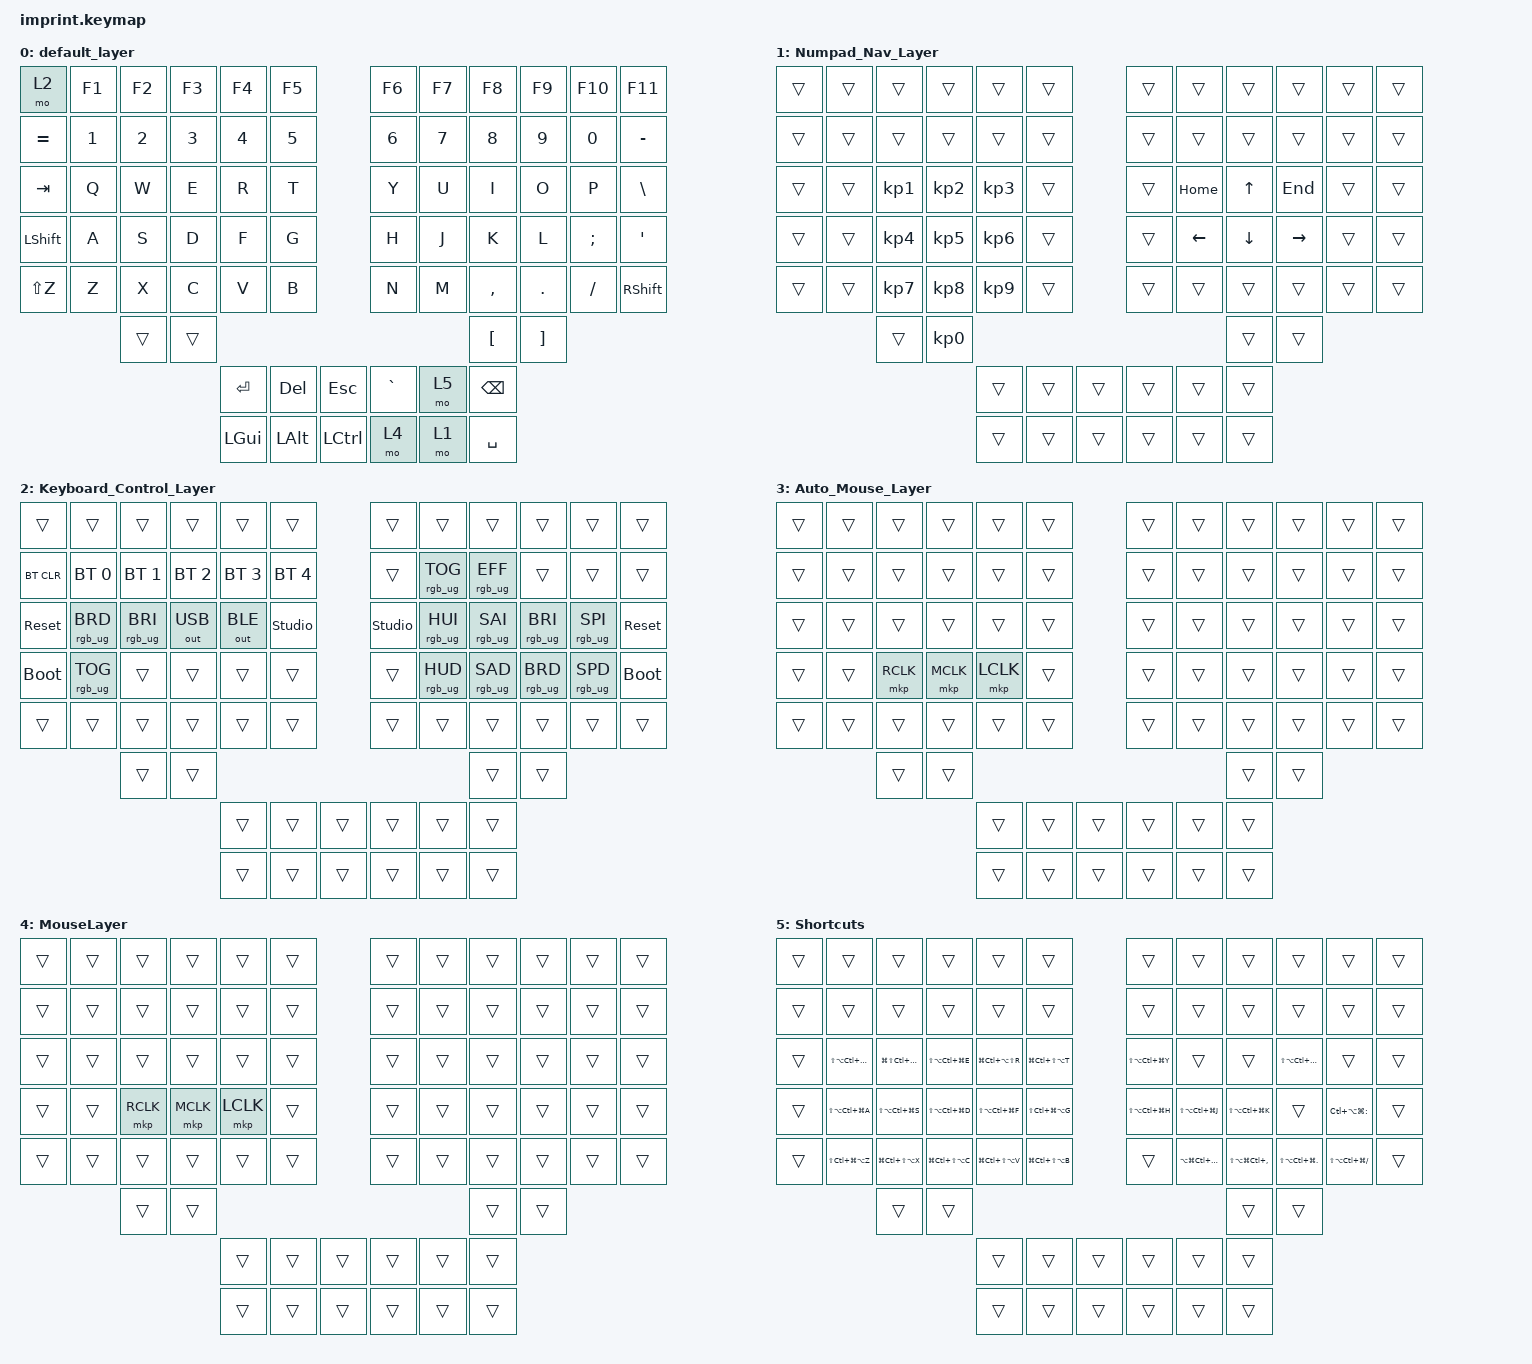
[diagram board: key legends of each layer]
#include <input/processors.dtsi>
#include <dt-bindings/zmk/input_transform.h>
#include <behaviors.dtsi>
#include <dt-bindings/zmk/bt.h>
#include <dt-bindings/zmk/keys.h>
#include <dt-bindings/zmk/outputs.h>
#include <dt-bindings/zmk/pointing.h>
#include <dt-bindings/zmk/rgb.h>

/ {
    chosen { zmk,matrix-transform = &imprint_function_row; };

    keymap {
        compatible = "zmk,keymap";

        default_layer {
            bindings = <
&mo 2       &kp F1  &kp F2  &kp F3  &kp F4    &kp F5                 &kp F6     &kp F7  &kp F8         &kp F9    &kp F10   &kp F11
&kp EQUAL   &kp N1  &kp N2  &kp N3  &kp N4    &kp N5                 &kp N6     &kp N7  &kp N8         &kp N9    &kp N0    &kp MINUS
&kp TAB     &kp Q   &kp W   &kp E   &kp R     &kp T                  &kp Y      &kp U   &kp I          &kp O     &kp P     &kp BSLH
&kp LSHIFT  &kp A   &kp S   &kp D   &kp F     &kp G                  &kp H      &kp J   &kp K          &kp L     &kp SEMI  &kp SQT
&kp LS(Z)   &kp Z   &kp X   &kp C   &kp V     &kp B                  &kp N      &kp M   &kp COMMA      &kp DOT   &kp FSLH  &kp RSHFT
                    &trans  &trans                                                      &kp LBKT       &kp RBKT
                                    &kp RET   &kp DEL   &kp ESC      &kp GRAVE  &mo 5   &kp BACKSPACE
                                    &kp LGUI  &kp LALT  &kp LCTRL    &mo 4      &mo 1   &kp SPACE
            >;
        };

        Numpad_Nav_Layer {
            bindings = <
&trans  &trans  &trans           &trans           &trans           &trans            &trans  &trans    &trans    &trans     &trans  &trans
&trans  &trans  &trans           &trans           &trans           &trans            &trans  &trans    &trans    &trans     &trans  &trans
&trans  &trans  &kp KP_NUMBER_1  &kp KP_NUMBER_2  &kp KP_NUMBER_3  &trans            &trans  &kp HOME  &kp UP    &kp END    &trans  &trans
&trans  &trans  &kp KP_NUMBER_4  &kp KP_NUMBER_5  &kp KP_NUMBER_6  &trans            &trans  &kp LEFT  &kp DOWN  &kp RIGHT  &trans  &trans
&trans  &trans  &kp KP_NUMBER_7  &kp KP_NUMBER_8  &kp KP_NUMBER_9  &trans            &trans  &trans    &trans    &trans     &trans  &trans
                &trans           &kp KP_NUMBER_0                                                       &trans    &trans
                                                  &trans           &trans  &trans    &trans  &trans    &trans
                                                  &trans           &trans  &trans    &trans  &trans    &trans
            >;
        };

        Keyboard_Control_Layer {
            bindings = <
&trans       &trans           &trans           &trans        &trans        &trans                    &trans          &trans           &trans           &trans           &trans           &trans
&bt BT_CLR   &bt BT_SEL 0     &bt BT_SEL 1     &bt BT_SEL 2  &bt BT_SEL 3  &bt BT_SEL 4              &trans          &rgb_ug RGB_TOG  &rgb_ug RGB_EFF  &trans           &trans           &trans
&sys_reset   &rgb_ug RGB_BRD  &rgb_ug RGB_BRI  &out OUT_USB  &out OUT_BLE  &studio_unlock            &studio_unlock  &rgb_ug RGB_HUI  &rgb_ug RGB_SAI  &rgb_ug RGB_BRI  &rgb_ug RGB_SPI  &sys_reset
&bootloader  &rgb_ug RGB_TOG  &trans           &trans        &trans        &trans                    &trans          &rgb_ug RGB_HUD  &rgb_ug RGB_SAD  &rgb_ug RGB_BRD  &rgb_ug RGB_SPD  &bootloader
&trans       &trans           &trans           &trans        &trans        &trans                    &trans          &trans           &trans           &trans           &trans           &trans
                              &trans           &trans                                                                                 &trans           &trans
                                                             &trans        &trans          &trans    &trans          &trans           &trans
                                                             &trans        &trans          &trans    &trans          &trans           &trans
            >;
        };

        Auto_Mouse_Layer {
            bindings = <
&trans  &trans  &trans     &trans     &trans     &trans            &trans  &trans  &trans  &trans  &trans  &trans
&trans  &trans  &trans     &trans     &trans     &trans            &trans  &trans  &trans  &trans  &trans  &trans
&trans  &trans  &trans     &trans     &trans     &trans            &trans  &trans  &trans  &trans  &trans  &trans
&trans  &trans  &mkp RCLK  &mkp MCLK  &mkp LCLK  &trans            &trans  &trans  &trans  &trans  &trans  &trans
&trans  &trans  &trans     &trans     &trans     &trans            &trans  &trans  &trans  &trans  &trans  &trans
                &trans     &trans                                                  &trans  &trans
                                      &trans     &trans  &trans    &trans  &trans  &trans
                                      &trans     &trans  &trans    &trans  &trans  &trans
            >;
        };

        MouseLayer {
            bindings = <
&trans  &trans  &trans     &trans     &trans     &trans            &trans  &trans  &trans  &trans  &trans  &trans
&trans  &trans  &trans     &trans     &trans     &trans            &trans  &trans  &trans  &trans  &trans  &trans
&trans  &trans  &trans     &trans     &trans     &trans            &trans  &trans  &trans  &trans  &trans  &trans
&trans  &trans  &mkp RCLK  &mkp MCLK  &mkp LCLK  &trans            &trans  &trans  &trans  &trans  &trans  &trans
&trans  &trans  &trans     &trans     &trans     &trans            &trans  &trans  &trans  &trans  &trans  &trans
                &trans     &trans                                                  &trans  &trans
                                      &trans     &trans  &trans    &trans  &trans  &trans
                                      &trans     &trans  &trans    &trans  &trans  &trans
            >;
        };

        Shortcuts {
            bindings = <
&trans  &trans                 &trans                 &trans                 &trans                 &trans                           &trans                 &trans                 &trans                     &trans                      &trans                     &trans
&trans  &trans                 &trans                 &trans                 &trans                 &trans                           &trans                 &trans                 &trans                     &trans                      &trans                     &trans
&trans  &kp LS(LA(LC(LG(Q))))  &kp LG(LS(LC(LA(W))))  &kp LS(LA(LC(LG(E))))  &kp LG(LC(LA(LS(R))))  &kp LG(LC(LS(LA(T))))            &kp LS(LA(LC(LG(Y))))  &trans                 &trans                     &kp LS(LA(LC(LG(O))))       &trans                     &trans
&trans  &kp LS(LA(LC(LG(A))))  &kp LS(LA(LC(LG(S))))  &kp LS(LA(LC(LG(D))))  &kp LS(LA(LC(LG(F))))  &kp LS(LC(LG(LA(G))))            &kp LS(LA(LC(LG(H))))  &kp LS(LA(LC(LG(J))))  &kp LS(LA(LC(LG(K))))      &trans                      &kp LC(LA(LG(COLON)))      &trans
&trans  &kp LS(LC(LG(LA(Z))))  &kp LG(LC(LS(LA(X))))  &kp LG(LC(LS(LA(C))))  &kp LG(LC(LS(LA(V))))  &kp LG(LC(LS(LA(B))))            &trans                 &kp LA(LG(LC(LS(M))))  &kp LS(LA(LG(LC(COMMA))))  &kp LS(LA(LC(LG(PERIOD))))  &kp LS(LA(LC(LG(SLASH))))  &trans
                               &trans                 &trans                                                                                                                       &trans                     &trans
                                                                             &trans                 &trans                 &trans    &trans                 &trans                 &trans
                                                                             &trans                 &trans                 &trans    &trans                 &trans                 &trans
            >;
        };
    };
};

//right hand trackball configuration

&trackball_peripheral_listener {
    input-processors =
        // this gets it to the default installation orientation,,,,,,,,,,,,,,,,
        // <&zip_xy_transform INPUT_TRANSFORM_XY_SWAP>;,,,,,,,,,,,,,,,
        // activate layer 3 within 500ms of the trackball moving,,,,,,,,,,,,,,,
        <&zip_temp_layer 3 500>;
};

//left hand trackball configuration

&trackball_central_listener {
    input-processors =
        // this gets it to the default installation orientation,,,,,,,,,,,,,,,,
        // <&zip_xy_transform INPUT_TRANSFORM_XY_SWAP>,,,,,,,,,,,,,,,,
        // multiply sensitivity by 1, divide by 3 (make it slower for scrolling),,,,,,,,,,,,,,,,
        <&zip_xy_scaler 1 16>,
        // make this trackball output scrolling events by default instead of cursor movement,,,,,,,,,,,,,,,,
        <&zip_xy_to_scroll_mapper>,
        // invert vertical scrolling so that the view moves in the same direction as the top of the trackball.,,,,,,,,,,,,,,,,
        <&zip_scroll_transform INPUT_TRANSFORM_Y_INVERT>;
};
